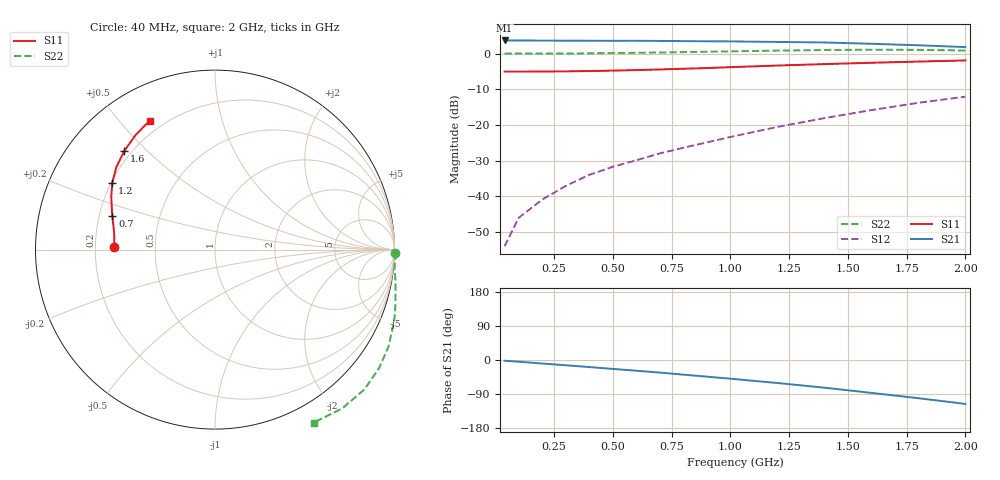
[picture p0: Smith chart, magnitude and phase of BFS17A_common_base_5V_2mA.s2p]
! Filename:  BFS17ACA.S2P  Version:  2.0
! Philips part #: BFS17A  Date: Jul 1990
! Bias condition: Vce=5V, Ic=2mA
! COMMON BASE
#  MHz  S  MA  R  50
! Freq  S11  S21  S12  S22
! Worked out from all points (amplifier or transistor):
!   16 points, 40 MHz to 2 GHz, reference 50 ohm
!   highest |S21| = 3.7 dB at 40 MHz (marker M1)
!   |S21| within 3 dB of that: start of sweep to end of sweep
!   unconditionally stable (mu >= 1): nowhere
!   at 200 MHz: K = -0.31, MSG = 22.3 dB, |S12| = -40.9 dB
!   at 800 MHz: K = -0.73, MSG = 15.0 dB, |S12| = -26.4 dB
!   at 2 GHz: K = -0.40, MSG = 7.0 dB, |S12| = -12.0 dB
!   S11 on the Smith chart (normalised r, x): 40 MHz: 0.28, +0.01; 700 MHz: 0.25, +0.15; 1.2 GHz: 0.20, +0.29; 1.6 GHz: 0.17, +0.43; 2 GHz: 0.15, +0.60
40  0.562 178.8  1.536 -2.0  0.002 90.1  1.004 -1.0
100  0.561 177.3  1.534 -4.5  0.005 89.1  1.007 -1.8
200  0.564 174.9  1.531 -9.3  0.009 97.1  1.005 -4.2
300  0.566 172.3  1.524 -13.9  0.014 100.9  1.006 -6.3
400  0.572 169.8  1.522 -18.6  0.02 105.2  1.015 -8.3
500  0.58 167.2  1.519 -23.5  0.026 108.3  1.023 -10.6
600  0.59 164.6  1.52 -28.3  0.032 111.6  1.031 -12.8
700  0.602 161.8  1.512 -33.2  0.04 114.4  1.041 -15.1
800  0.616 158.9  1.505 -38.6  0.048 116.3  1.054 -17.6
900  0.63 156.1  1.494 -43.9  0.057 118.6  1.068 -20.4
1000  0.648 153.1  1.491 -49.3  0.068 119.8  1.079 -23.1
1200  0.683 146.9  1.464 -60.7  0.094 121.5  1.107 -29.1
1400  0.716 140.2  1.439 -73.0  0.125 121.1  1.128 -35.8
1600  0.747 132.6  1.38 -86.8  0.162 119.2  1.14 -43.1
1800  0.777 124.6  1.315 -100.8  0.205 115.6  1.134 -51.2
2000  0.805 116.9  1.24 -115.9  0.25 110.8  1.11 -60.3
